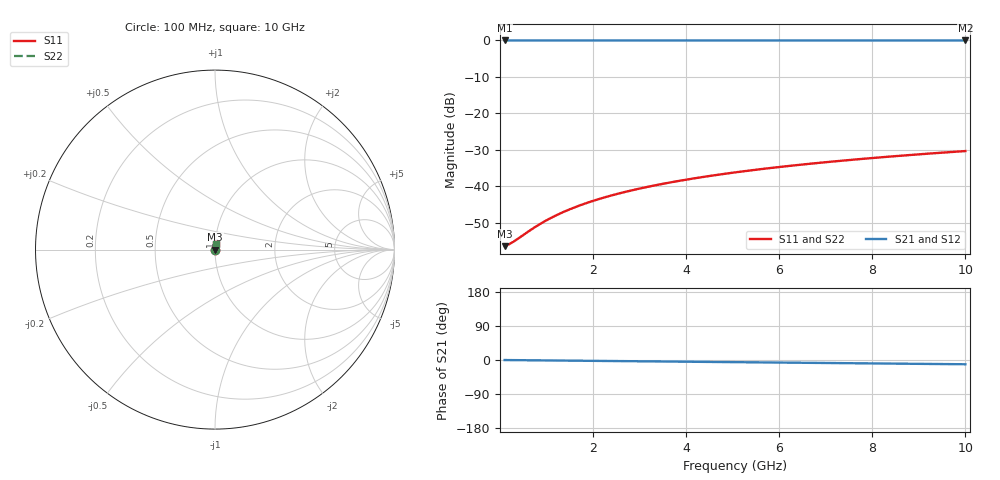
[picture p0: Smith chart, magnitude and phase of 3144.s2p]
# Hz S RI R 50.00
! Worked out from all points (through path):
!   100 points, 100 MHz to 10 GHz, reference 50 ohm
!   highest |S21| = -0.01 dB at 100 MHz (marker M1); lowest = 0.0 dB at 10 GHz (marker M2)
!   group delay of S21, straight-line fit = 3.13 ps
!   lowest |S11| = -56.4 dB at 100 MHz (marker M3), VSWR 1.00, Z = 50.1 + j0.0304 ohm
!   |S11| at or under -10 dB: start of sweep to end of sweep
!   |S22| runs from -56.4 to -30.3 dB; largest |S21 - S12| = 0
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1e8  0.00148 0.000303  0.9985 -0.00196  0.9985 -0.00196  0.00148 0.000303
2e8  0.00149 0.000607  0.9985 -0.00392  0.9985 -0.00392  0.00149 0.000607
3e8  0.0015 0.00091  0.9985 -0.00588  0.9985 -0.00588  0.0015 0.00091
7e8  0.00154 0.00212  0.9984 -0.0137  0.9984 -0.0137  0.00154 0.00212
8e8  0.00155 0.00243  0.9983 -0.0157  0.9983 -0.0157  0.00155 0.00243
1e9  0.00158 0.00303  0.9983 -0.0196  0.9983 -0.0196  0.00158 0.00303
1.2e9  0.00161 0.00364  0.9982 -0.0235  0.9982 -0.0235  0.00161 0.00364
1.4e9  0.00165 0.00424  0.9981 -0.0274  0.9981 -0.0274  0.00165 0.00424
1.6e9  0.00169 0.00485  0.9979 -0.0314  0.9979 -0.0314  0.00169 0.00485
1.8e9  0.00173 0.00545  0.9978 -0.0353  0.9978 -0.0353  0.00173 0.00545
2.1e9  0.0018 0.00636  0.9976 -0.0411  0.9976 -0.0411  0.0018 0.00636
2.5e9  0.00192 0.00757  0.9972 -0.049  0.9972 -0.049  0.00192 0.00757
2.9e9  0.00205 0.00877  0.9967 -0.0568  0.9967 -0.0568  0.00205 0.00877
3.4e9  0.00225 0.0103  0.9961 -0.0666  0.9961 -0.0666  0.00225 0.0103
3.8e9  0.00242 0.0115  0.9955 -0.0744  0.9955 -0.0744  0.00242 0.0115
4.2e9  0.00261 0.0127  0.9949 -0.0823  0.9949 -0.0823  0.00261 0.0127
5.1e9  0.00312 0.0153  0.9932 -0.0998  0.9932 -0.0998  0.00312 0.0153
5.9e9  0.00365 0.0177  0.9915 -0.1154  0.9915 -0.1154  0.00365 0.0177
6.7e9  0.00425 0.0201  0.9895 -0.131  0.9895 -0.131  0.00425 0.0201
7.5e9  0.00493 0.0224  0.9872 -0.1466  0.9872 -0.1466  0.00493 0.0224
8.4e9  0.00578 0.025  0.9844 -0.1641  0.9844 -0.1641  0.00578 0.025
1e10  0.00751 0.0295  0.9785 -0.195  0.9785 -0.195  0.00751 0.0295
